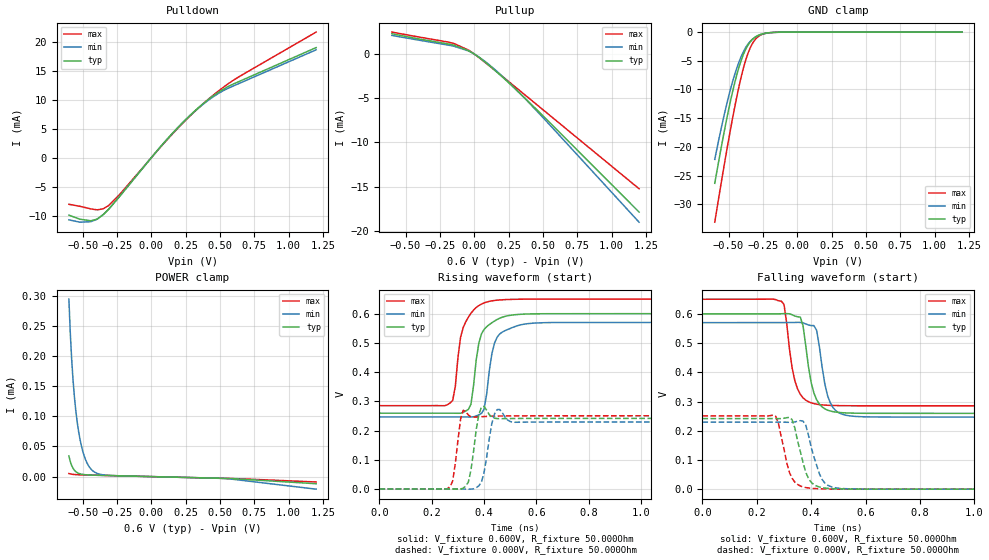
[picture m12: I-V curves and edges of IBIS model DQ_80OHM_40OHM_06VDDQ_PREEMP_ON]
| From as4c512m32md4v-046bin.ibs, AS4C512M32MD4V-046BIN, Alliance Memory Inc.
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|   MODEL: DQ_80OHM_40OHM_06VDDQ_PREEMP_ON
[Model]   DQ_80OHM_40OHM_06VDDQ_PREEMP_ON
Model_type   I/O
Polarity   Non-Inverting
Enable   Active-High
Vinl   = 0.080V
Vinh   = 0.220V
Vmeas   = 0.150V
Vref   = 0.150V
Cref   = 0.000pF
Rref   = 50.000Ohm
|   typ   min   max
C_comp   0.875pF   0.788pF   0.963pF
[Voltage Range]   0.600V   0.570V   0.650V
[Temperature Range]   25.0   95.0   -40.0
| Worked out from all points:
|   slope of the pulldown table from 0 to 0.09 V, typ, clamps not added: 35.6 ohm
|   slope of the pullup table from 0 to 0.09 V, typ, clamps not added: 85.1 ohm
|   GND clamp passes 1 mA (typ) near -0.31 V on its own axis
|   rising waveform, V_fixture 0.600V, R_fixture 50.000Ohm: 20-80 % time 35.2ps typ, 35.7ps min, 42.3ps max; typ from 0.259 V to 0.6 V
|   falling waveform, V_fixture 0.600V, R_fixture 50.000Ohm: 20-80 % time 36.6ps typ, 36.8ps min, 36ps max; typ from 0.6 V to 0.259 V
|   rising waveform, V_fixture 0.000V, R_fixture 50.000Ohm: 20-80 % time 22.8ps typ, 25.3ps min, 20.9ps max; typ from 0 V to 0.242 V
|   falling waveform, V_fixture 0.000V, R_fixture 50.000Ohm: 20-80 % time 41ps typ, 43.3ps min, 38.4ps max; typ from 0.242 V to 0 V
[Pulldown]
|   Voltage   I(typ)   I(min)   I(max)
-600mV    -9.933mA   -10.74mA   -8.055mA
-520mV    -10.64mA   -11.15mA   -8.402mA
-440mV    -10.91mA   -11.06mA   -8.857mA
-390mV    -10.55mA   -10.55mA   -9.005mA
-350mV    -9.864mA   -9.834mA   -8.829mA
-310mV    -8.911mA   -8.89mA    -8.266mA
-230mV    -6.673mA   -6.674mA   -6.345mA
130mV     3.598mA    3.579mA    3.493mA
270mV     7.055mA    7.002mA    6.938mA
400mV     9.785mA    9.667mA    9.8mA
580mV     12.55mA    12.23mA    13.12mA
1.2V      19.05mA    18.66mA    21.73mA
[Pullup]
|   Voltage   I(typ)   I(min)   I(max)
-600mV    2.295mA    2.104mA    2.481mA
-150mV    1.015mA    894.4uA    1.202mA
-40mV     380.4uA    335.1uA    430.4uA
70mV      -807.4uA   -742.4uA   -846.5uA
210mV     -2.672mA   -2.598mA   -2.601mA
400mV     -5.461mA   -5.538mA   -5.023mA
1.2V      -17.89mA   -19.03mA   -15.25mA
[GND Clamp]
|   Voltage   I(typ)   I(min)   I(max)
-600mV    -26.36mA   -22.19mA   -33.14mA
-550mV    -19.73mA   -16.43mA   -25.84mA
-510mV    -14.79mA   -12.27mA   -20.24mA
-470mV    -10.36mA   -8.615mA   -14.96mA
-430mV    -6.627mA   -5.609mA   -10.17mA
-390mV    -3.805mA   -3.349mA   -6.151mA
-360mV    -2.341mA   -2.151mA   -3.819mA
-320mV    -1.14mA    -1.122mA   -1.755mA
-280mV    -524.1uA   -555.5uA   -715.7uA
-230mV    -184.4uA   -215.6uA   -213.3uA
-140mV    -20.29uA   -29.99uA   -17.96uA
1.2V      6.836uA    7.386uA    6.714uA
[POWER Clamp]
|   Voltage   I(typ)   I(min)   I(max)
-600mV    34.27uA    294.1uA    5.169uA
-590mV    25uA       238.9uA    4.47uA
-570mV    13.84uA    160.6uA    3.674uA
-560mV    10.58uA    132.6uA    3.444uA
-540mV    6.655uA    91.24uA    3.146uA
-520mV    4.678uA    62.84uA    2.957uA
-490mV    3.339uA    35.2uA     2.748uA
-460mV    2.772uA    19.1uA     2.569uA
-420mV    2.39uA     8.47uA     2.342uA
-300mV    1.671uA    1.938uA    1.671uA
560mV     -3.13uA    -3.595uA   -3.086uA
1.2V      -11.8uA    -20.82uA   -8.926uA
[Ramp]
R_load = 50.000Ohm
|   typ   min   max
dV/dt_r   0.204V/40.000ps   0.194V/40.000ps   0.219V/40.000ps
dV/dt_f   0.204V/40.000ps   0.194V/40.000ps   0.219V/40.000ps
|Slew_r   5.108V/ns   4.850V/ns   5.470V/ns
|Slew_f   5.106V/ns   4.848V/ns   5.468V/ns
[Rising Waveform]
V_fixture = 0.600V
V_fixture_min = 0.570V
V_fixture_max = 0.650V
R_fixture = 50.000Ohm
L_fixture = 0.000nH
C_fixture = 0.000pF
|dV/dt_r   0.204V/40.000ps   0.194V/40.000ps   0.219V/40.000ps
|Slew_r   5.108V/ns   4.850V/ns   5.470V/ns
|   Time   V(typ)   V(min)   V(max)
0s        259.4mV    246.7mV    285.3mV
280ps     259.5mV    246.7mV    303mV
310ps     259.3mV    246.8mV    518.8mV
350ps     290.6mV    246.5mV    601.6mV
390ps     530.6mV    258.4mV    632.8mV
400ps     546.2mV    273.5mV    636.8mV
430ps     569mV      463.7mV    643.9mV
460ps     584.6mV    530.7mV    647mV
660ps     599.9mV    569.6mV    650mV
5ns       600mV      570mV      650mV
[Falling Waveform]
V_fixture = 0.600V
V_fixture_min = 0.570V
V_fixture_max = 0.650V
R_fixture = 50.000Ohm
L_fixture = 0.000nH
C_fixture = 0.000pF
|dV/dt_f   0.204V/40.000ps   0.194V/40.000ps   0.219V/40.000ps
|Slew_f   5.106V/ns   4.848V/ns   5.468V/ns
|   Time   V(typ)   V(min)   V(max)
0s        599.9mV    569.9mV    649.9mV
290ps     600.3mV    570mV      643.5mV
300ps     600.6mV    570mV      632.3mV
330ps     596.9mV    570.3mV    414.2mV
360ps     588.8mV    570.7mV    324.5mV
420ps     306mV      543.6mV    290.8mV
450ps     275mV      360.6mV    287.7mV
490ps     263.9mV    269mV      286.1mV
590ps     259.7mV    247.8mV    285.4mV
5ns       259.5mV    246.7mV    285.4mV
[Rising Waveform]
V_fixture = 0.000V
V_fixture_min = 0.000V
V_fixture_max = 0.000V
R_fixture = 50.000Ohm
L_fixture = 0.000nH
C_fixture = 0.000pF
|dV/dt_r   0.145V/20.000ps   0.138V/30.000ps   0.150V/20.000ps
|Slew_r   7.249V/ns   4.586V/ns   7.519V/ns
|   Time   V(typ)   V(min)   V(max)
0s        3.915uV    11.59uV    1.679uV
270ps     60.27uV    14.1uV     8.243mV
320ps     2.833mV    -47.1uV    269.4mV
340ps     23.85mV    -431.5uV   253mV
380ps     255.2mV    10.97mV    246.8mV
400ps     282.7mV    57.11mV    248mV
430ps     245.8mV    225.3mV    249.2mV
450ps     241.1mV    271.8mV    249.6mV
520ps     241.3mV    228.4mV    250.3mV
5ns       241.6mV    229.3mV    250.6mV
[Falling Waveform]
V_fixture = 0.000V
V_fixture_min = 0.000V
V_fixture_max = 0.000V
R_fixture = 50.000Ohm
L_fixture = 0.000nH
C_fixture = 0.000pF
|dV/dt_f   0.145V/40.000ps   0.138V/40.000ps   0.150V/40.000ps
|Slew_f   3.624V/ns   3.439V/ns   3.759V/ns
|   Time   V(typ)   V(min)   V(max)
0s        241.6mV    229.3mV    250.6mV
270ps     241.4mV    229.3mV    248.9mV
320ps     245.7mV    228.8mV    57.33mV
340ps     208.9mV    230.2mV    23.85mV
380ps     58.21mV    218.8mV    5.616mV
420ps     10.62mV    81.72mV    1.824mV
440ps     5.229mV    33.22mV    1.129mV
460ps     2.831mV    13.87mV    693.2uV
560ps     263.3uV    716.6uV    35.68uV
5ns       4.298uV    11.52uV    2.061uV
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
